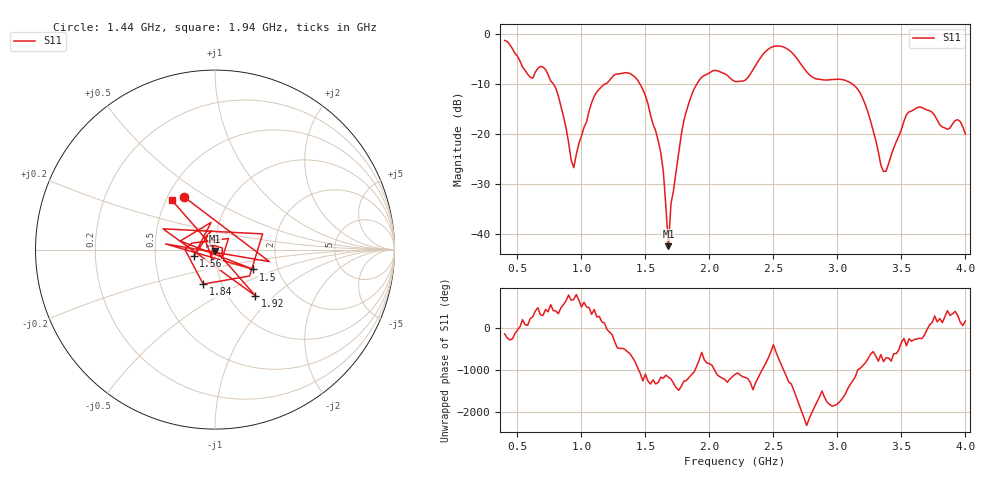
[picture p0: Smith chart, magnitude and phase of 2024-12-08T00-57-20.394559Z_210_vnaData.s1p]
!Created with skrf (http://scikit-rf.org).
# Hz S RI R 50.0
!freq ReS11 ImS11
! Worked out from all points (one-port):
!   181 points, 400 MHz to 4 GHz, reference 50 ohm
!   lowest |S11| = -42.5 dB at 1.68 GHz (marker M1), VSWR 1.02, Z = 49.9 - j0.734 ohm
!   |S11| at or under -10 dB: 780.4 MHz to 1.189 GHz (408.8 MHz wide, 41.5 % of centre); 1.456 GHz to 1.903 GHz (447.1 MHz wide, 26.6 % of centre); 3.114 GHz to end of sweep
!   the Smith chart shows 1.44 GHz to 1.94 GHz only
!   S11 on the Smith chart (normalised r, x): 1.44 GHz: 0.60, +0.40; 1.5 GHz: 1.49, -0.35; 1.56 GHz: 0.79, -0.06; 1.84 GHz: 0.82, -0.33; 1.92 GHz: 1.33, -0.77; 1.94 GHz: 0.53, +0.34
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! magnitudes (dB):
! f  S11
! 400 MHz  -1.3
! 600 MHz  -8.7
! 720 MHz  -7.1
! 860 MHz  -16.6
! 940 MHz  -26.8
! 1.1 GHz  -12.5
! 1.3 GHz  -8.0
! 1.44 GHz  -9.3
! 1.5 GHz  -12.4
! 1.56 GHz  -18.1
! 1.64 GHz  -27.5
! 1.68 GHz  -42.5
! 1.7 GHz  -34.0
! 1.76 GHz  -23.9
! 1.84 GHz  -13.8
! 1.92 GHz  -9.3
! 1.94 GHz  -8.7
! 2.2 GHz  -9.5
! 2.48 GHz  -2.7
! 2.66 GHz  -4.2
! 2.82 GHz  -8.9
! 3.1 GHz  -9.8
! 3.22 GHz  -14.3
! 3.36 GHz  -27.6
! 3.56 GHz  -15.6
! 3.86 GHz  -19.1
! 3.94 GHz  -17.2
! 4 GHz  -20.1
